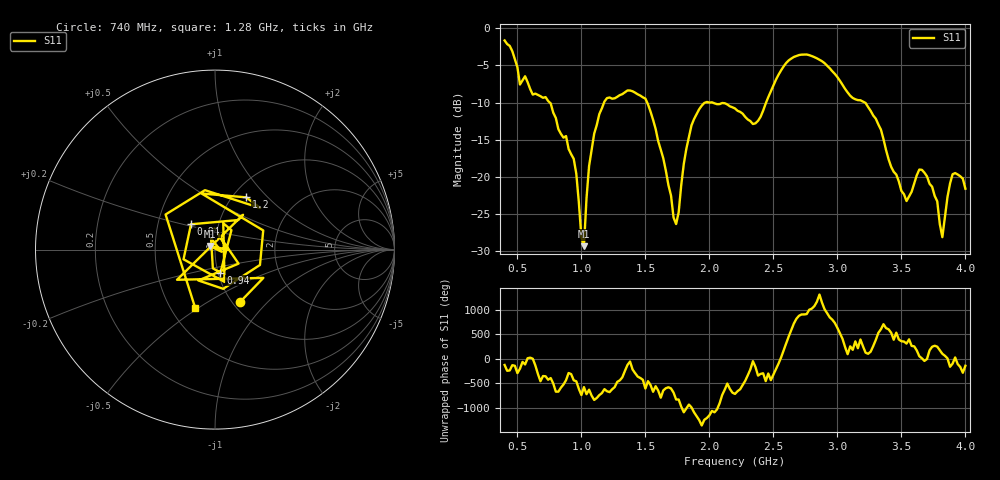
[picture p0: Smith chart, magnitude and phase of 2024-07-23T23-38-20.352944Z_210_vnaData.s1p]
!Created with skrf (http://scikit-rf.org).
# Hz S RI R 50.0
!freq ReS11 ImS11
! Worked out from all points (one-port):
!   181 points, 400 MHz to 4 GHz, reference 50 ohm
!   lowest |S11| = -29.4 dB at 1.02 GHz (marker M1), VSWR 1.07, Z = 47.3 + j1.87 ohm
!   |S11| at or under -10 dB: 753.2 MHz to 1.177 GHz (423.8 MHz wide, 43.9 % of centre); 1.514 GHz to 1.968 GHz (454 MHz wide, 26.1 % of centre); 3.214 GHz to end of sweep (the widest 3 of 4)
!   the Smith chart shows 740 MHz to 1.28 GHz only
!   S11 on the Smith chart (normalised r, x): 740 MHz: 1.08, -0.71; 840 MHz: 0.74, +0.22; 940 MHz: 1.03, -0.27; 1.2 GHz: 1.15, +0.76; 1.28 GHz: 0.66, -0.49
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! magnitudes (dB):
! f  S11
! 400 MHz  -1.6
! 520 MHz  -7.6
! 740 MHz  -9.8
! 840 MHz  -14.2
! 860 MHz  -14.7
! 940 MHz  -17.6
! 1.02 GHz  -29.4
! 1.04 GHz  -22.9
! 1.08 GHz  -16.3
! 1.2 GHz  -9.4
! 1.28 GHz  -9.2
! 1.3 GHz  -9.0
! 1.5 GHz  -9.5
! 1.72 GHz  -25.5
! 1.76 GHz  -24.8
! 1.82 GHz  -16.2
! 1.92 GHz  -10.9
! 2.2 GHz  -10.8
! 2.36 GHz  -12.8
! 2.66 GHz  -3.9
! 3.1 GHz  -9.1
! 3.3 GHz  -12.2
! 3.56 GHz  -22.7
! 3.68 GHz  -19.5
! 3.78 GHz  -23.3
! 3.82 GHz  -28.1
! 3.9 GHz  -19.7
! 4 GHz  -21.6
